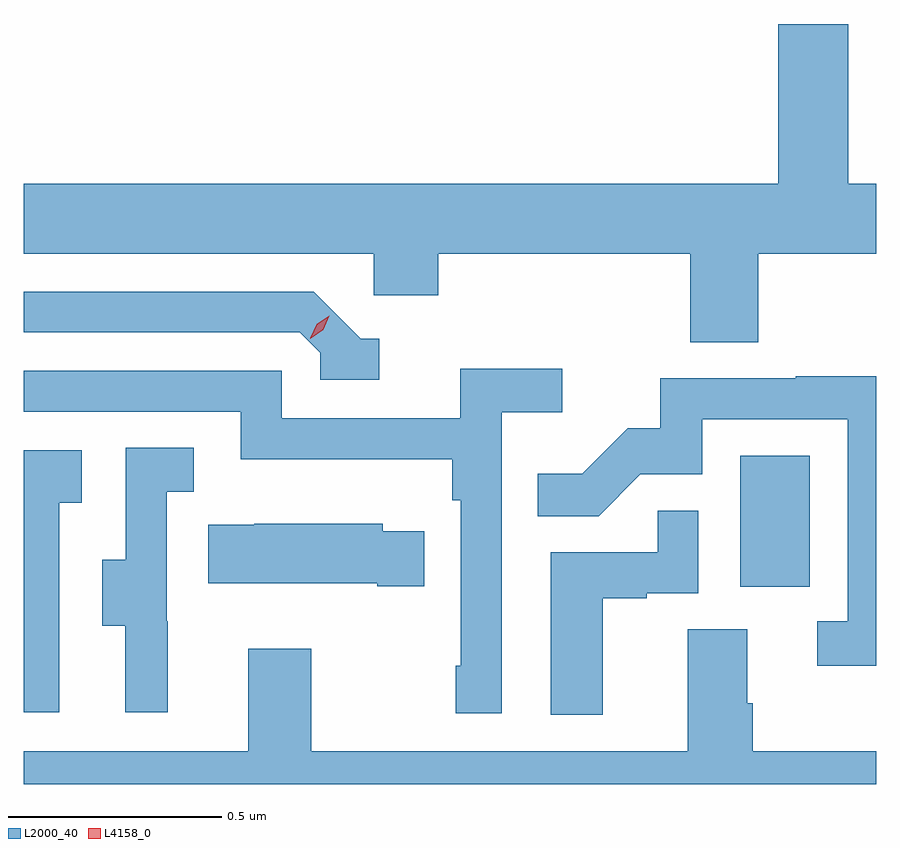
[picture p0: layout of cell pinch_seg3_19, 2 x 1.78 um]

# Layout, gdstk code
import gdstk
lib = gdstk.Library(unit=1e-6, precision=1e-09)
def R(c, l, rs):  # rectangles x0, y0, x1, y1
    for r in rs: c.add(gdstk.rectangle(r[:2], r[2:], *l))
def P(c, l, *ps):  # polygons
    for p in ps: c.add(gdstk.Polygon(p, *l))
L2000_40 = (2000, 40)
L4158_0 = (4158, 0)

pinch_seg3_19 = lib.new_cell('pinch_seg3_19')
R(pinch_seg3_19, L2000_40, [(1141.94,729.438,1142.104,729.745)])
P(pinch_seg3_19, L2000_40, [(1141.983,730.22),(1142.259,730.22),(1142.259,730.384),(1142.194,730.384),(1142.194,730.759),(1142.03,730.759),(1142.03,730.384),(1140.259,730.384),(1140.259,730.22),(1141.08,730.22),(1141.08,730.122),(1141.232,730.122),(1141.232,730.22),(1141.823,730.22),(1141.823,730.012),(1141.983,730.012)],
  [(1141.093,730.02),(1141.05,730.02),(1140.939,730.131),(1140.259,730.131),(1140.259,730.035),(1140.906,730.035),(1140.954,729.987),(1140.954,729.924),(1141.093,729.924)],
  [(1141.38,729.848),(1141.522,729.848),(1141.522,729.95),(1141.283,729.95),(1141.283,729.834),(1140.864,729.834),(1140.864,729.945),(1140.259,729.945),(1140.259,729.849),(1140.768,729.849),(1140.768,729.737),(1141.264,729.737),(1141.264,729.641),(1141.284,729.641),(1141.284,729.253),(1141.272,729.253),(1141.272,729.141),(1141.38,729.141)],
  [(1142.259,729.932),(1142.071,729.932),(1142.071,729.927),(1141.753,729.927),(1141.753,729.81),(1141.676,729.81),(1141.569,729.703),(1141.465,729.703),(1141.465,729.604),(1141.608,729.604),(1141.706,729.702),(1141.851,729.702),(1141.851,729.831),(1142.193,729.831),(1142.193,729.357),(1142.121,729.357),(1142.121,729.252),(1142.259,729.252)],
  [(1140.596,729.357),(1140.594,729.357),(1140.594,729.661),(1140.658,729.661),(1140.658,729.764),(1140.498,729.764),(1140.498,729.501),(1140.443,729.501),(1140.443,729.346),(1140.497,729.346),(1140.497,729.144),(1140.596,729.144)],
  [(1140.342,729.635),(1140.394,729.635),(1140.394,729.759),(1140.259,729.759),(1140.259,729.144),(1140.342,729.144)],
  [(1141.618,729.411),(1141.721,729.411),(1141.721,729.423),(1141.842,729.423),(1141.842,729.617),(1141.747,729.617),(1141.747,729.519),(1141.496,729.519),(1141.496,729.137),(1141.618,729.137)],
  [(1141.199,729.568),(1141.101,729.568),(1141.101,729.586),(1140.799,729.586),(1140.799,729.583),(1140.691,729.583),(1140.691,729.446),(1141.088,729.446),(1141.088,729.439),(1141.199,729.439)],
  [(1142.259,729.052),(1141.97,729.052),(1141.97,729.164),(1141.957,729.164),(1141.957,729.338),(1141.817,729.338),(1141.817,729.052),(1140.933,729.052),(1140.933,729.292),(1140.785,729.292),(1140.785,729.052),(1140.259,729.052),(1140.259,728.975),(1142.259,728.975)])
P(pinch_seg3_19, L4158_0, [(1140.931,730.02),(1140.931,730.021),(1140.946,730.054),(1140.976,730.074),(1140.976,730.074),(1140.976,730.074),(1140.961,730.041),(1140.931,730.02)])

lib.write_gds('pinch_seg3_19.gds')
